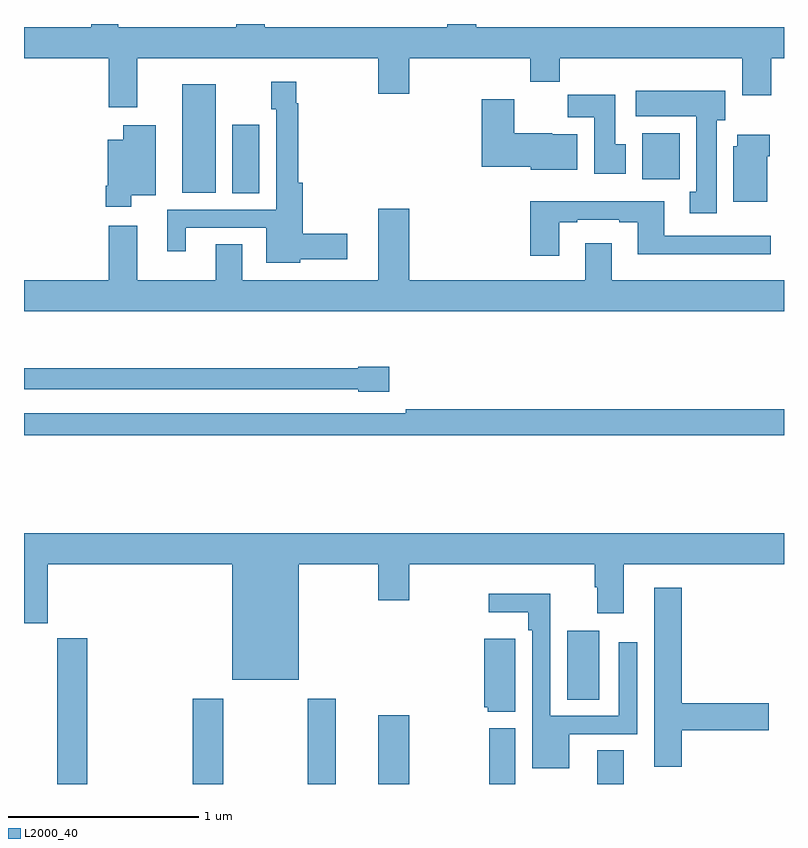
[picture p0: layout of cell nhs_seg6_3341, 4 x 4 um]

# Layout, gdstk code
import gdstk
lib = gdstk.Library(unit=1e-6, precision=1e-09)
def R(c, l, rs):  # rectangles x0, y0, x1, y1
    for r in rs: c.add(gdstk.rectangle(r[:2], r[2:], *l))
def P(c, l, *ps):  # polygons
    for p in ps: c.add(gdstk.Polygon(p, *l))
L2000_40 = (2000, 40)

nhs_seg6_3341 = lib.new_cell('nhs_seg6_3341')
R(nhs_seg6_3341, L2000_40, [(307.174,959.5,307.334,960.268), (307.889,959.5,308.049,959.95), (308.494,959.5,308.641,959.95), (308.864,959.5,309.028,959.863), (309.448,959.5,309.586,959.794), (310.016,959.5,310.156,959.678), (309.86,959.944,310.027,960.307), (308.096,962.608,308.239,962.971), (307.832,962.612,308.008,963.184), (310.253,962.684,310.45,962.926)])
P(nhs_seg6_3341, L2000_40, [(307.597,963.32),(308.864,963.32),(308.864,963.132),(309.028,963.132),(309.028,963.32),(309.665,963.32),(309.665,963.196),(309.821,963.196),(309.821,963.32),(310.781,963.32),(310.781,963.126),(310.934,963.126),(310.934,963.32),(311,963.32),(311,963.484),(309.38,963.484),(309.38,963.5),(309.227,963.5),(309.227,963.484),(308.267,963.484),(308.267,963.5),(308.116,963.5),(308.116,963.484),(307.495,963.484),(307.495,963.5),(307.355,963.5),(307.355,963.484),(307,963.484),(307,963.32),(307.445,963.32),(307.445,963.063),(307.597,963.063)],
  [(308.454,962.261),(308.701,962.261),(308.701,962.396),(308.466,962.396),(308.466,962.665),(308.444,962.665),(308.444,963.083),(308.432,963.083),(308.432,963.196),(308.302,963.196),(308.302,963.051),(308.328,963.051),(308.328,962.523),(307.754,962.523),(307.754,962.304),(307.852,962.304),(307.852,962.427),(308.276,962.427),(308.276,962.243),(308.454,962.243)],
  [(310.645,962.994),(310.69,962.994),(310.69,963.148),(310.221,963.148),(310.221,963.014),(310.538,963.014),(310.538,962.618),(310.505,962.618),(310.505,962.505),(310.645,962.505)],
  [(310.168,962.868),(310.111,962.868),(310.111,963.127),(309.862,963.127),(309.862,963.008),(310.001,963.008),(310.001,962.712),(310.168,962.712)],
  [(309.913,962.92),(309.78,962.92),(309.78,962.926),(309.58,962.926),(309.58,963.103),(309.41,963.103),(309.41,962.75),(309.666,962.75),(309.666,962.732),(309.913,962.732)],
  [(307.564,962.6),(307.693,962.6),(307.693,962.968),(307.523,962.968),(307.523,962.89),(307.442,962.89),(307.442,962.65),(307.43,962.65),(307.43,962.538),(307.564,962.538)],
  [(310.912,962.804),(310.925,962.804),(310.925,962.917),(310.754,962.917),(310.754,962.856),(310.733,962.856),(310.733,962.564),(310.912,962.564)],
  [(309.817,962.457),(309.913,962.457),(309.913,962.469),(310.133,962.469),(310.133,962.457),(310.229,962.457),(310.229,962.288),(310.93,962.288),(310.93,962.385),(310.369,962.385),(310.369,962.566),(309.665,962.566),(309.665,962.28),(309.817,962.28)],
  [(311,962.152),(310.093,962.152),(310.093,962.347),(309.953,962.347),(309.953,962.152),(309.028,962.152),(309.028,962.527),(308.864,962.527),(308.864,962.152),(308.149,962.152),(308.149,962.342),(308.009,962.342),(308.009,962.152),(307.597,962.152),(307.597,962.437),(307.445,962.437),(307.445,962.152),(307,962.152),(307,961.988),(311,961.988)],
  [(308.923,961.695),(308.76,961.695),(308.76,961.687),(307,961.687),(307,961.578),(308.76,961.578),(308.76,961.565),(308.923,961.565)],
  [(311,961.472),(309.01,961.472),(309.01,961.452),(307,961.452),(307,961.336),(311,961.336)],
  [(308.446,960.656),(308.864,960.656),(308.864,960.468),(309.028,960.468),(309.028,960.656),(310.004,960.656),(310.004,960.536),(310.016,960.536),(310.016,960.399),(310.156,960.399),(310.156,960.656),(311,960.656),(311,960.82),(307,960.82),(307,960.347),(307.126,960.347),(307.126,960.656),(308.096,960.656),(308.096,960.05),(308.446,960.05)],
  [(310.463,959.782),(310.921,959.782),(310.921,959.924),(310.463,959.924),(310.463,960.532),(310.316,960.532),(310.316,959.592),(310.463,959.592)],
  [(309.871,959.763),(310.227,959.763),(310.227,960.247),(310.131,960.247),(310.131,959.859),(309.771,959.859),(309.771,960.502),(309.447,960.502),(309.447,960.404),(309.655,960.404),(309.655,960.308),(309.675,960.308),(309.675,959.582),(309.871,959.582)],
  [(309.586,960.265),(309.422,960.265),(309.422,959.904),(309.441,959.904),(309.441,959.879),(309.586,959.879)])

lib.write_gds('nhs_seg6_3341.gds')
